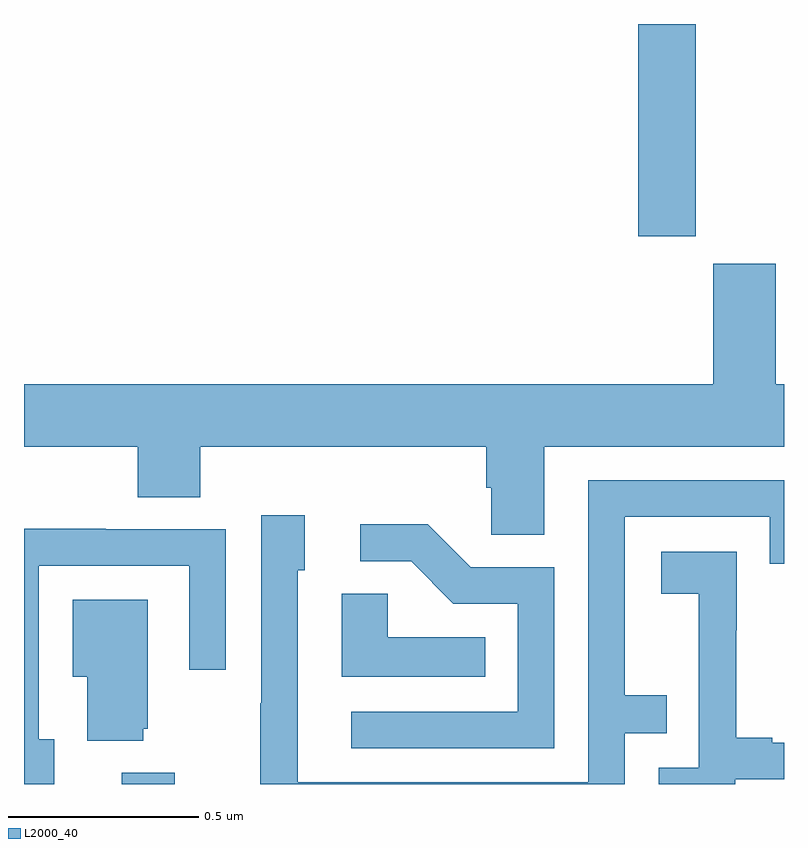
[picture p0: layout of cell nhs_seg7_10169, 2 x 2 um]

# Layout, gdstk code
import gdstk
lib = gdstk.Library(unit=1e-6, precision=1e-09)
def R(c, l, rs):  # rectangles x0, y0, x1, y1
    for r in rs: c.add(gdstk.rectangle(r[:2], r[2:], *l))
def P(c, l, *ps):  # polygons
    for p in ps: c.add(gdstk.Polygon(p, *l))
L2000_40 = (2000, 40)

nhs_seg7_10169 = lib.new_cell('nhs_seg7_10169')
R(nhs_seg7_10169, L2000_40, [(246.257,1061,246.397,1061.029), (247.616,1062.441,247.768,1063)])
P(nhs_seg7_10169, L2000_40, [(247.369,1061.888),(248,1061.888),(248,1062.052),(247.978,1062.052),(247.978,1062.369),(247.814,1062.369),(247.814,1062.052),(246,1062.052),(246,1061.888),(246.299,1061.888),(246.299,1061.755),(246.464,1061.755),(246.464,1061.888),(247.217,1061.888),(247.217,1061.779),(247.23,1061.779),(247.23,1061.656),(247.369,1061.656)],
  [(247.581,1061.133),(247.691,1061.133),(247.691,1061.234),(247.581,1061.234),(247.581,1061.703),(247.962,1061.703),(247.962,1061.58),(248,1061.58),(248,1061.799),(247.485,1061.799),(247.485,1061.004),(246.72,1061.004),(246.72,1061.562),(246.739,1061.562),(246.739,1061.707),(246.624,1061.707),(246.624,1061.213),(246.622,1061.213),(246.622,1061),(247.581,1061)],
  [(247.395,1061.571),(247.176,1061.571),(247.063,1061.684),(246.885,1061.684),(246.885,1061.586),(247.019,1061.586),(247.13,1061.475),(247.299,1061.475),(247.299,1061.19),(246.861,1061.19),(246.861,1061.094),(247.395,1061.094)],
  [(246.079,1061.118),(246.039,1061.118),(246.039,1061.574),(246.435,1061.574),(246.435,1061.301),(246.531,1061.301),(246.531,1061.67),(246.215,1061.67),(246.215,1061.672),(246,1061.672),(246,1061),(246.079,1061)],
  [(247.872,1061.013),(248,1061.013),(248,1061.109),(247.969,1061.109),(247.969,1061.122),(247.874,1061.122),(247.874,1061.405),(247.875,1061.405),(247.875,1061.611),(247.677,1061.611),(247.677,1061.501),(247.775,1061.501),(247.775,1061.273),(247.776,1061.273),(247.776,1061.043),(247.671,1061.043),(247.671,1061),(247.872,1061)],
  [(247.214,1061.386),(246.957,1061.386),(246.957,1061.501),(246.836,1061.501),(246.836,1061.282),(247.214,1061.282)],
  [(246.314,1061.145),(246.325,1061.145),(246.325,1061.485),(246.128,1061.485),(246.128,1061.282),(246.167,1061.282),(246.167,1061.114),(246.314,1061.114)])

lib.write_gds('nhs_seg7_10169.gds')
